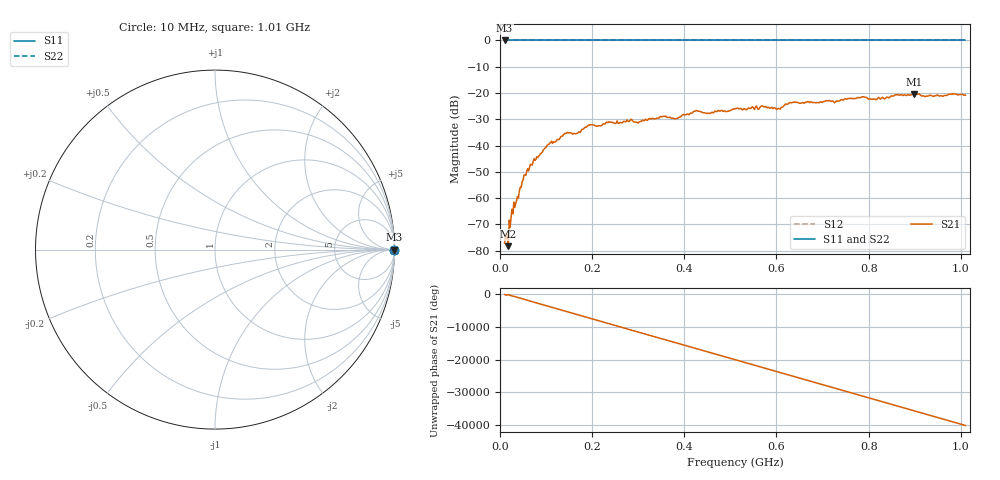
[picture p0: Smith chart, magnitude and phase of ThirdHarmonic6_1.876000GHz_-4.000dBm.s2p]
! 8/16/2025 10:40:02 PM
! C:\ANRITSUVNA\TEMP\TEMP.S2P
! CHANNEL.1
! TR.MEASUREMENT
! RAW.DATA
! RF.CORRECTION.OFF
! AVERAGING.OFF
! IF.BANDWIDTH: 5KHZ
! SWEEPTYPE:  FREQ.SWEEP(Linear)
! Reference Plane Port Info
! PORT:  PORT1  PORT2
! DISTANCE:  0  m  0  m
! TIME:  0  s  0  s
! PHASE.OFFSET:  0  deg.  0  deg.
! LOSS:  0  dB  0  dB
! REF.LOSS:  0  dB  0  dB
! REF.FREQ:  0  Hz  0  Hz
! Power Info
! POWER:  -20  dBm  -20  dBm
! EFF.POWER:  -20  dBm  -20  dBm
! SOURCE.ATTEN:  0  dB  0  dB
! TEST.ATTEN:  0  dB  0  dB
# GHZ S RI R 50.0
! FREQ.GHZ  S11RE  S11IM  S21RE  S21IM  S12RE  S12IM  S22RE  S22IM
!; PortSelection: Port_12
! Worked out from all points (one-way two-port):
!   501 points, 10 MHz to 1.01 GHz, reference 50 ohm
!   highest |S21| = -20.32 dB at 898 MHz (marker M1); lowest = -78.3 dB at 18 MHz (marker M2)
!   lowest |S11| = 0.0 dB at 10 MHz (marker M3)
!   |S11| at or under -10 dB: nowhere
!   |S22| runs from 0.0 to 0.0 dB; largest |S21 - S12| = 1.1
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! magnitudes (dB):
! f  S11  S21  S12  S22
! 10 MHz  0.0  -77.1  0.0  0.0
! 18 MHz  0.0  -78.3  0.0  0.0
! 28 MHz  0.0  -66.0  0.0  0.0
! 48 MHz  0.0  -53.7  0.0  0.0
! 70 MHz  0.0  -47.4  0.0  0.0
! 108 MHz  0.0  -39.0  0.0  0.0
! 142 MHz  0.0  -35.4  0.0  0.0
! 178 MHz  0.0  -33.8  0.0  0.0
! 196 MHz  0.0  -32.0  0.0  0.0
! 298 MHz  0.0  -31.2  0.0  0.0
! 344 MHz  0.0  -29.6  0.0  0.0
! 382 MHz  0.0  -29.7  0.0  0.0
! 424 MHz  0.0  -26.9  0.0  0.0
! 452 MHz  0.0  -27.7  0.0  0.0
! 510 MHz  0.0  -26.0  0.0  0.0
! 572 MHz  0.0  -25.3  0.0  0.0
! 604 MHz  0.0  -25.9  0.0  0.0
! 632 MHz  0.0  -23.7  0.0  0.0
! 678 MHz  0.0  -23.6  0.0  0.0
! 844 MHz  0.0  -21.8  0.0  0.0
! 898 MHz  0.0  -20.3  0.0  0.0
! 1.01 GHz  0.0  -20.8  0.0  0.0
